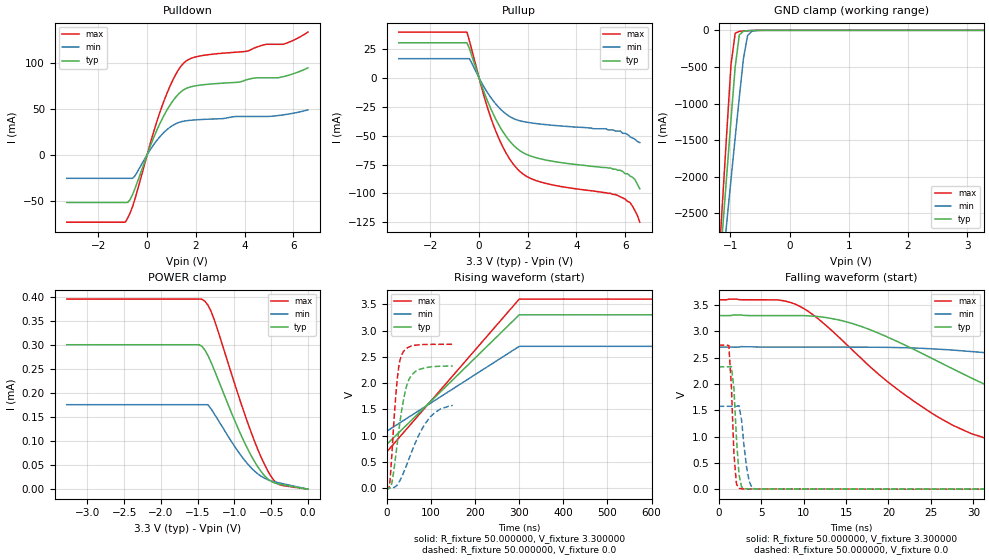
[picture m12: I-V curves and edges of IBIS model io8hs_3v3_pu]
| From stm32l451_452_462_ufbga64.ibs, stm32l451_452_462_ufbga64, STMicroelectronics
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|   Model io8hs_3v3_pu
[Model]  io8hs_3v3_pu
Model_type I/O
Polarity   Non-Inverting
Enable   Active-Low
Vinl =   0.990000V
Vinh =   2.310000V
Vmeas =  1.650000V
Cref =   100.000000nF
Rref =   1.000000k
Vref =   3.300000V
C_comp   2.267200pF   2.233100pF   2.322300pF
[Temperature Range]   25.000000   0.125000k   -40.000000
[Pullup Reference]   3.300000V   2.700000V   3.600000V
[Pulldown Reference]   0.0V   0.0V   0.0V
[POWER Clamp Reference]   3.300000V   2.700000V   3.600000V
[GND Clamp Reference]   0.0V   0.0V   0.0V
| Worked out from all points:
|   slope of the pulldown table from 0 to 0.495 V, typ, clamps not added: 15.3 ohm
|   slope of the pullup table from 0 to 0.495 V, typ, clamps not added: 18.1 ohm
|   GND clamp passes 1 mA (typ) near -0.58 V on its own axis
|   rising waveform, R_fixture 50.000000, V_fixture 3.300000: 20-80 % time 180ns typ, 180ns min, 180ns max; typ from 0.832 V to 3.3 V
|   rising waveform, R_fixture 50.000000, V_fixture 0.0: 20-80 % time 24.3ns typ, 50.8ns min, 14.6ns max; typ from 0.001 V to 2.33 V
|   falling waveform, R_fixture 50.000000, V_fixture 3.300000: 20-80 % time 21ns typ, 41.5ns min, 13.7ns max; typ from 3.3 V to 0.832 V
|   falling waveform, R_fixture 50.000000, V_fixture 0.0: 20-80 % time 499ps typ, 677ps min, 457ps max; typ from 2.33 V to 0.001 V
[Pulldown]
|Voltage   I(typ)   I(min)   I(max)
-3.3V     -51.86mA   -25.67mA   -73.32mA
-900mV    -51.86mA   -25.67mA   -73.32mA
-700mV    -48.68mA   -25.67mA   -63.27mA
-500mV    -36.68mA   -22.92mA   -47.9mA
200mV     14.09mA    8.363mA    18.97mA
700mV     43.2mA     24.54mA    59.15mA
1.2V      63.38mA    34mA       88.53mA
1.6V      72.01mA    36.89mA    101.8mA
4.1V      81.56mA    41.59mA    112.4mA
4.9V      83.55mA    41.59mA    120mA
5.6V      84.89mA    43.33mA    120.1mA
6.6V      94.39mA    48.68mA    133.3mA
[Pullup]
|Voltage   I(typ)   I(min)   I(max)
-3.3V     30.51mA    16.73mA    39.78mA
-500mV    30.51mA    16.73mA    39.78mA
-400mV    25.73mA    16.73mA    32.44mA
200mV     -11.99mA   -7.69mA    -15.6mA
500mV     -27.53mA   -17.49mA   -35.6mA
1V        -47.29mA   -29.37mA   -60.81mA
1.5V      -60.05mA   -35.95mA   -77.15mA
1.9V      -65.76mA   -38.13mA   -84.63mA
2.6V      -70.47mA   -40.14mA   -90.6mA
5.6V      -79mA      -46mA      -101mA
6.2V      -85mA      -51mA      -108mA
6.6V      -96mA      -56mA      -125mA
[GND_clamp]
|Voltage   I(typ)   I(min)   I(max)
-3.3V     -9.456A    -9.706A    -9.779A
-1.2V     -3.441A    -3.76A     -3.218A
-1.13V    -2.694A    -3.182A    -2.288A
-1.06V    -1.951A    -2.607A    -1.365A
-990mV    -1.216A    -2.035A    -464.9mA
-920mV    -500mA     -1.468A    -40.15mA
-850mV    -63.51mA   -913mA     -13.79mA
-780mV    -11.84mA   -384.3mA   -8.858mA
-710mV    -4.78mA    -70.26mA   -5.228mA
-640mV    -2.25mA    -14.29mA   -2.447mA
-430mV    -27.1uA    -149uA     -11.19uA
3.28V     0A         0A         0A
[POWER_clamp]
|Voltage   I(typ)   I(min)   I(max)
-3.28V    301.3uA    176.2uA    396.6uA
-1.48V    301.3uA    176.2uA    396.6uA
-1.4V     290uA      176.2uA    391.9uA
-1.36V    278.9uA    176.2uA    384uA
-1.28V    250.9uA    158.7uA    356.2uA
-1V       144.8uA    89.98uA    221.7uA
-840mV    90.38uA    56.36uA    147.8uA
-680mV    46.32uA    31.78uA    82.44uA
-560mV    23.38uA    20.73uA    42.33uA
-480mV    14.66uA    16.5uA     21.94uA
-400mV    10.77uA    13.43uA    10.23uA
0V        0A         0A         0A
[Ramp]
| variable   typ   min   max
dV/dt_r  1.39450/24.32029n   0.94482/54.54234n   1.64288/14.56534n
dV/dt_f  1.48066/21.06490n   0.97008/44.49579n   1.74725/13.65133n
R_load = 50.000000
[Rising Waveform]
R_fixture= 50.000000
V_fixture= 3.300000
V_fixture_min= 2.700000
V_fixture_max= 3.600000
|time   V(typ)   V(min)   V(max)
0s        832.2mV    1.083V     687.9mV
300.3ns   3.3V       2.7V       3.6V
600.6ns   3.3V       2.7V       3.6V
29.73us   3.3V       2.7V       3.6V
[Rising Waveform]
R_fixture= 50.000000
V_fixture= 0.0
V_fixture_min= 0.0
V_fixture_max= 0.0
|time   V(typ)   V(min)   V(max)
0s        929.1uV    1.395mV    658.7uV
6.907ns   5.861mV    4.453mV    94.66mV
12.61ns   142.3mV    5.769mV    767.7mV
22.52ns   757.8mV    49.89mV    1.951V
27.93ns   1.125V     113mV      2.345V
33.03ns   1.429V     196.1mV    2.518V
47.15ns   2.004V     485.7mV    2.673V
64.86ns   2.222V     863.5mV    2.721V
98.8ns    2.308V     1.357V     2.737V
149.5ns   2.325V     1.576V     2.739V
[Falling Waveform]
R_fixture= 50.000000
V_fixture= 3.300000
V_fixture_min= 2.700000
V_fixture_max= 3.600000
|time   V(typ)   V(min)   V(max)
0s        3.3V       2.7V       3.6V
9.61ns    3.3V       2.7V       3.473V
15.62ns   3.157V     2.7V       2.667V
24.62ns   2.527V     2.672V     1.495V
29.73ns   2.117V     2.617V     1.058V
33.63ns   1.831V     2.557V     907.2mV
46.55ns   1.158V     2.272V     764.1mV
60.06ns   970.6mV    1.923V     721.1mV
93.69ns   862.2mV    1.287V     693.7mV
149.5ns   832.2mV    1.083V     687.9mV
[Falling Waveform]
R_fixture= 50.000000
V_fixture= 0.0
V_fixture_min= 0.0
V_fixture_max= 0.0
|time   V(typ)   V(min)   V(max)
0s        2.325V     1.576V     2.739V
1.201ns   2.325V     1.576V     2.732V
1.502ns   2.333V     1.576V     1.969V
1.802ns   1.924V     1.576V     683.6mV
2.102ns   966.2mV    1.577V     99.05mV
2.402ns   279.8mV    1.586V     17.88mV
2.703ns   45.34mV    1.316V     6.39mV
3.604ns   5.102mV    151.6mV    4.383mV
4.505ns   4.666mV    6.472mV    4.371mV
149.5ns   929.1uV    1.395mV    658.7uV
